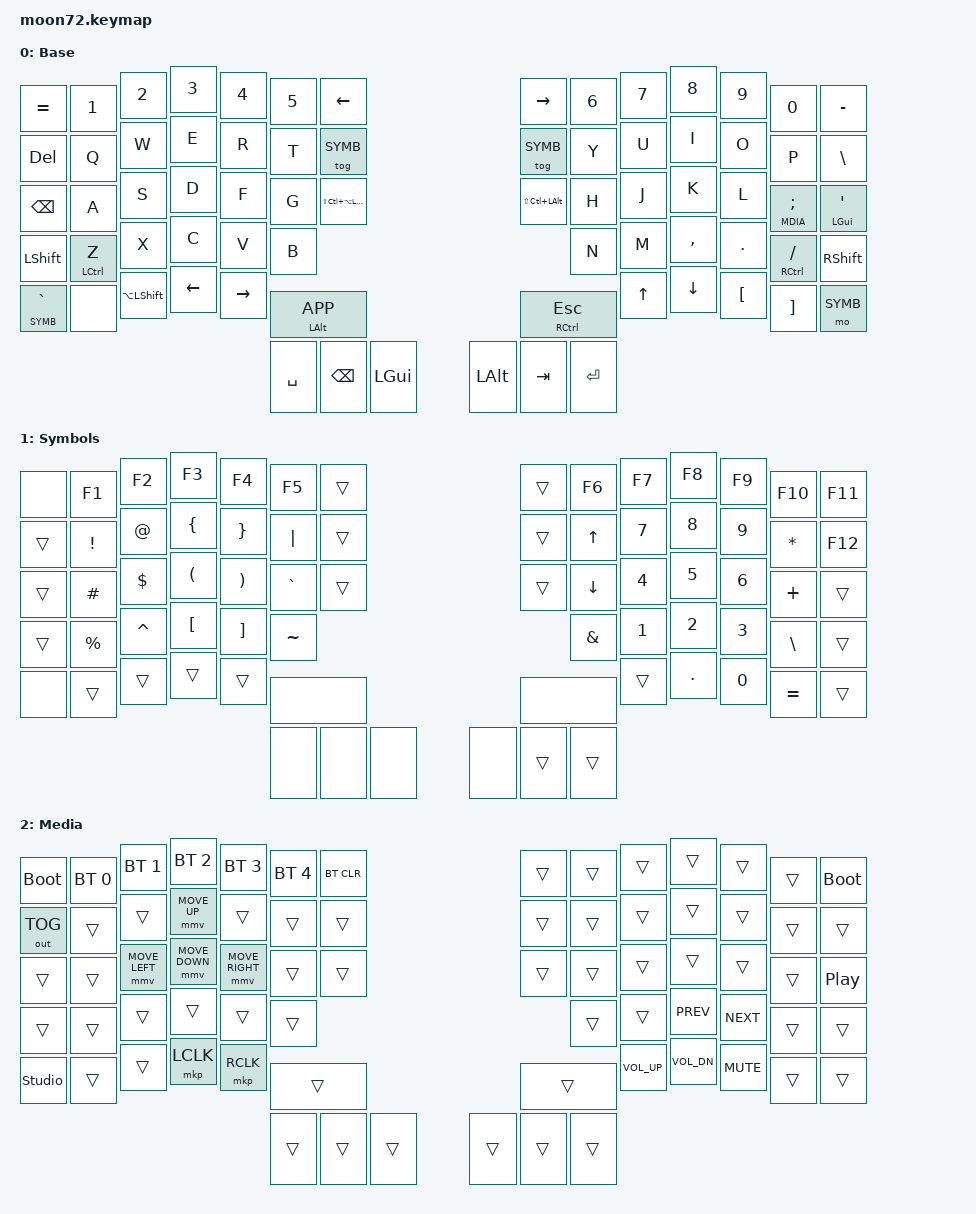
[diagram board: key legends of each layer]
/*
 * Moon72: ZSA Moonlander default keymap (qmk zsa/moonlander/keymaps/default),
 * ported to ZMK. Edit here or live in ZMK Studio (https://zmk.studio, left
 * half on USB, unlock with the STUDIO key on MDIA).
 *
 * Not ported (no hardware / no ZMK equivalent): RGB keys, VRSN, WEBUSB_PAIR,
 * LED_LEVEL, TOGGLE_LAYER_COLOR. Their spots are &none.
 * Added on MDIA: Bluetooth profiles, USB/BLE output, bootloader on both halves.
 */

#include <behaviors.dtsi>
#include <dt-bindings/zmk/keys.h>
#include <dt-bindings/zmk/bt.h>
#include <dt-bindings/zmk/outputs.h>
#include <dt-bindings/zmk/pointing.h>

#define BASE 0
#define SYMB 1
#define MDIA 2

#define HYPR LS(LC(LA(LGUI)))
#define MEH LS(LC(LALT))

/ {
    keymap {
        compatible = "zmk,keymap";

        base {
            display-name = "Base";
            bindings = <
&kp EQUAL      &kp N1   &kp N2        &kp N3   &kp N4   &kp N5 &kp LEFT          &kp RIGHT &kp N6 &kp N7   &kp N8    &kp N9  &kp N0           &kp MINUS
&kp DEL        &kp Q    &kp W         &kp E    &kp R    &kp T  &tog SYMB         &tog SYMB &kp Y  &kp U    &kp I     &kp O   &kp P            &kp BSLH
&kp BSPC       &kp A    &kp S         &kp D    &kp F    &kp G  &kp HYPR          &kp MEH   &kp H  &kp J    &kp K     &kp L   &lt MDIA SEMI    &mt LGUI SQT
&kp LSHFT      &mt LCTRL Z &kp X      &kp C    &kp V    &kp B                              &kp N  &kp M    &kp COMMA &kp DOT &mt RCTRL FSLH   &kp RSHFT
&lt SYMB GRAVE &none    &kp LA(LSHFT) &kp LEFT &kp RIGHT   &mt LALT K_APP        &mt RCTRL ESC    &kp UP   &kp DOWN  &kp LBKT &kp RBKT       &mo SYMB
                                      &kp SPACE &kp BSPC &kp LGUI                &kp LALT &kp TAB &kp RET
            >;
        };

        symb {
            display-name = "Symbols";
            bindings = <
&none   &kp F1      &kp F2    &kp F3    &kp F4    &kp F5    &trans       &trans &kp F6    &kp F7 &kp F8 &kp F9 &kp F10   &kp F11
&trans  &kp EXCL    &kp AT    &kp LBRC  &kp RBRC  &kp PIPE  &trans       &trans &kp UP    &kp N7 &kp N8 &kp N9 &kp STAR  &kp F12
&trans  &kp HASH    &kp DLLR  &kp LPAR  &kp RPAR  &kp GRAVE &trans       &trans &kp DOWN  &kp N4 &kp N5 &kp N6 &kp PLUS  &trans
&trans  &kp PRCNT   &kp CARET &kp LBKT  &kp RBKT  &kp TILDE                     &kp AMPS  &kp N1 &kp N2 &kp N3 &kp BSLH  &trans
&none   &trans      &trans    &trans    &trans        &none                &none          &trans &kp DOT &kp N0 &kp EQUAL &trans
                                        &none     &none     &none        &none  &trans    &trans
            >;
        };

        mdia {
            display-name = "Media";
            bindings = <
&bootloader &bt BT_SEL 0 &bt BT_SEL 1 &bt BT_SEL 2 &bt BT_SEL 3 &bt BT_SEL 4 &bt BT_CLR    &trans &trans &trans &trans &trans &trans &bootloader
&out OUT_TOG &trans &trans          &mmv MOVE_UP   &trans         &trans &trans             &trans &trans &trans &trans &trans &trans &trans
&trans &trans &mmv MOVE_LEFT        &mmv MOVE_DOWN &mmv MOVE_RIGHT &trans &trans            &trans &trans &trans &trans &trans &trans &kp C_PP
&trans &trans &trans                &trans         &trans         &trans                           &trans &trans &kp C_PREV &kp C_NEXT &trans &trans
&studio_unlock &trans &trans        &mkp LCLK      &mkp RCLK          &trans           &trans        &kp C_VOL_UP &kp C_VOL_DN &kp C_MUTE &trans &trans
                                    &trans &trans &trans                               &trans &trans &trans
            >;
        };
    };
};
